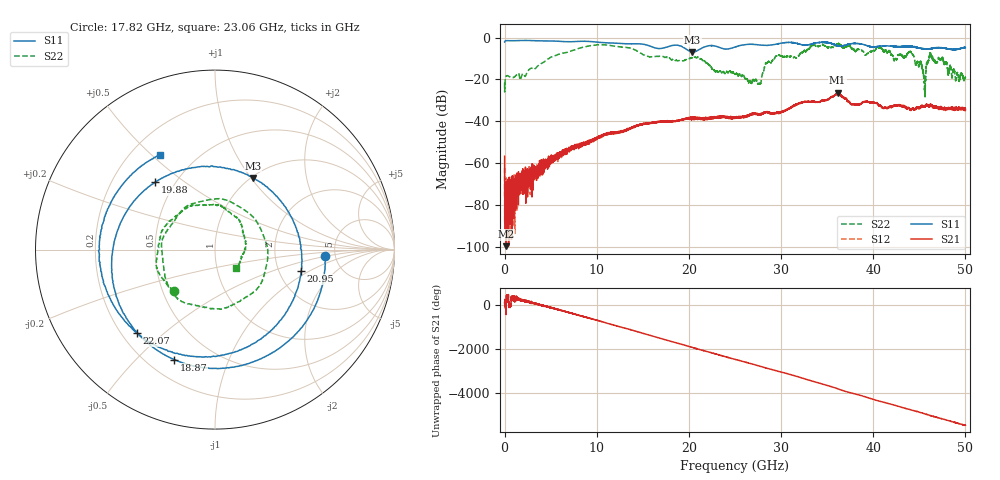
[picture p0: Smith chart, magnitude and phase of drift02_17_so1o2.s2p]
!Created with skrf (http://scikit-rf.org).
# Hz S RI R 50.0
!freq ReS11 ImS11 ReS21 ImS21 ReS12 ImS12 ReS22 ImS22
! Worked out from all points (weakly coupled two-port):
!   10001 points, 300 kHz to 50 GHz, reference 50 ohm
!   highest |S21| = -26.25 dB at 36.13 GHz (marker M1); lowest = -99.8 dB at 135.3 MHz (marker M2)
!   lowest |S11| = -6.9 dB at 20.38 GHz (marker M3), VSWR 2.64, Z = 51 + j51 ohm
!   |S11| at or under -10 dB: nowhere
!   |S22| runs from -28.6 to -2.5 dB; largest |S21 - S12| = 0.0053
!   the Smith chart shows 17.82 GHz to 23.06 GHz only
!   S11 on the Smith chart (normalised r, x): 17.82 GHz: 4.14, -0.47; 18.87 GHz: 0.30, -0.65; 19.88 GHz: 0.39, +0.39; 20.95 GHz: 2.66, -0.83; 22.07 GHz: 0.26, -0.41; 23.06 GHz: 0.32, +0.53
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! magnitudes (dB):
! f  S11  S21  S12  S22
! 300 kHz  -2.1  -56.7  -62.3  -21.6
! 135.3 MHz  -1.5  -99.8  -76.1  -18.6
! 915.3 MHz  -1.5  -69.4  -81.9  -19.1
! 8.335 GHz  -1.7  -50.5  -51.5  -4.8
! 16.67 GHz  -5.2  -40.3  -40.4  -8.9
! 17.82 GHz  -4.2  -40.1  -40.1  -9.7
! 18.87 GHz  -3.7  -39.6  -39.7  -11.0
! 19.88 GHz  -6.0  -38.6  -38.6  -10.0
! 20.38 GHz  -6.9  -38.5  -38.4  -9.6
! 20.95 GHz  -6.1  -39.2  -38.6  -9.4
! 22.07 GHz  -3.9  -38.4  -38.2  -12.4
! 23.06 GHz  -4.3  -38.2  -38.1  -16.0
! 25 GHz  -4.5  -38.5  -38.4  -17.5
! 27.62 GHz  -3.5  -36.7  -36.7  -22.0
! 28.49 GHz  -3.7  -35.8  -35.7  -12.3
! 33.34 GHz  -3.0  -30.5  -30.5  -3.8
! 36.13 GHz  -3.9  -26.3  -27.0  -3.2
! 41.67 GHz  -4.0  -33.2  -33.4  -6.4
! 44.12 GHz  -4.1  -34.5  -34.3  -7.1
! 45.5 GHz  -5.4  -33.1  -33.2  -19.5
! 46.28 GHz  -5.2  -32.5  -32.3  -8.8
! 50 GHz  -4.8  -34.4  -34.4  -19.1
